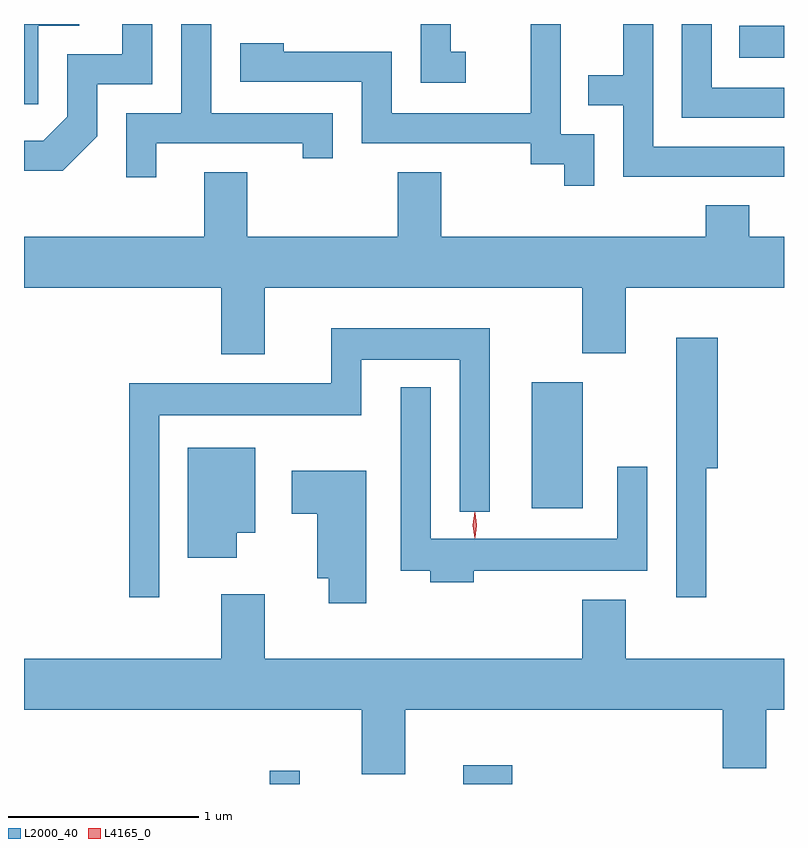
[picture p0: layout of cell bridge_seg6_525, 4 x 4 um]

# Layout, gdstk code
import gdstk
lib = gdstk.Library(unit=1e-6, precision=1e-09)
def R(c, l, rs):  # rectangles x0, y0, x1, y1
    for r in rs: c.add(gdstk.rectangle(r[:2], r[2:], *l))
def P(c, l, *ps):  # polygons
    for p in ps: c.add(gdstk.Polygon(p, *l))
L2000_40 = (2000, 40)
L4165_0 = (4165, 0)

bridge_seg6_525 = lib.new_cell('bridge_seg6_525')
R(bridge_seg6_525, L2000_40, [(445.866,1636.224,446.024,1636.293), (446.886,1636.224,447.144,1636.324), (447.246,1637.676,447.514,1638.339), (448.338,1640.046,448.573,1640.214)])
P(bridge_seg6_525, L2000_40, [(444.959,1639.634),(444.959,1639.906),(445.249,1639.906),(445.249,1640.224),(445.091,1640.224),(445.091,1640.064),(444.801,1640.064),(444.801,1639.737),(444.674,1639.609),(444.573,1639.609),(444.573,1639.451),(444.777,1639.451)],
  [(448.573,1639.889),(448.194,1639.889),(448.194,1640.224),(448.036,1640.224),(448.036,1639.731),(448.573,1639.731)],
  [(447.574,1639.644),(447.399,1639.644),(447.399,1640.224),(447.241,1640.224),(447.241,1639.754),(446.509,1639.754),(446.509,1640.079),(445.939,1640.079),(445.939,1640.124),(445.711,1640.124),(445.711,1639.921),(446.351,1639.921),(446.351,1639.596),(447.241,1639.596),(447.241,1639.486),(447.416,1639.486),(447.416,1639.373),(447.574,1639.373)],
  [(448.573,1639.579),(447.884,1639.579),(447.884,1640.224),(447.726,1640.224),(447.726,1639.954),(447.543,1639.954),(447.543,1639.796),(447.726,1639.796),(447.726,1639.421),(448.573,1639.421)],
  [(446.898,1640.079),(446.819,1640.079),(446.819,1640.224),(446.661,1640.224),(446.661,1639.916),(446.898,1639.916)],
  [(444.649,1640.216),(444.864,1640.216),(444.864,1640.224),(444.573,1640.224),(444.573,1639.801),(444.649,1639.801)],
  [(445.269,1639.596),(446.041,1639.596),(446.041,1639.518),(446.199,1639.518),(446.199,1639.754),(445.559,1639.754),(445.559,1640.224),(445.401,1640.224),(445.401,1639.754),(445.111,1639.754),(445.111,1639.418),(445.269,1639.418)],
  [(445.749,1639.444),(445.521,1639.444),(445.521,1639.104),(444.573,1639.104),(444.573,1638.836),(445.611,1638.836),(445.611,1638.486),(445.839,1638.486),(445.839,1638.836),(447.511,1638.836),(447.511,1638.491),(447.739,1638.491),(447.739,1638.836),(448.573,1638.836),(448.573,1639.104),(448.389,1639.104),(448.389,1639.269),(448.161,1639.269),(448.161,1639.104),(446.769,1639.104),(446.769,1639.444),(446.541,1639.444),(446.541,1639.104),(445.749,1639.104)],
  [(445.284,1638.166),(446.349,1638.166),(446.349,1638.456),(446.866,1638.456),(446.866,1637.658),(447.024,1637.658),(447.024,1638.624),(446.191,1638.624),(446.191,1638.334),(445.126,1638.334),(445.126,1637.208),(445.284,1637.208)],
  [(448.164,1637.886),(448.224,1637.886),(448.224,1638.574),(448.006,1638.574),(448.006,1637.208),(448.164,1637.208)],
  [(446.939,1637.346),(447.854,1637.346),(447.854,1637.893),(447.696,1637.893),(447.696,1637.514),(446.714,1637.514),(446.714,1638.313),(446.556,1638.313),(446.556,1637.346),(446.711,1637.346),(446.711,1637.286),(446.939,1637.286)],
  [(445.694,1637.546),(445.789,1637.546),(445.789,1637.994),(445.436,1637.994),(445.436,1637.416),(445.694,1637.416)],
  [(446.374,1637.874),(445.981,1637.874),(445.981,1637.646),(446.116,1637.646),(446.116,1637.306),(446.176,1637.306),(446.176,1637.176),(446.374,1637.176)],
  [(446.579,1636.616),(448.251,1636.616),(448.251,1636.306),(448.479,1636.306),(448.479,1636.616),(448.573,1636.616),(448.573,1636.884),(447.739,1636.884),(447.739,1637.194),(447.511,1637.194),(447.511,1636.884),(445.839,1636.884),(445.839,1637.224),(445.611,1637.224),(445.611,1636.884),(444.573,1636.884),(444.573,1636.616),(446.351,1636.616),(446.351,1636.276),(446.579,1636.276)])
P(bridge_seg6_525, L4165_0, [(446.945,1637.517),(446.945,1637.517),(446.935,1637.587),(446.945,1637.656),(446.945,1637.656),(446.946,1637.656),(446.955,1637.587),(446.946,1637.517)],
  [(446.946,1637.52),(446.946,1637.52),(446.936,1637.586),(446.946,1637.652),(446.946,1637.653),(446.947,1637.652),(446.956,1637.586),(446.947,1637.52)])

lib.write_gds('bridge_seg6_525.gds')
